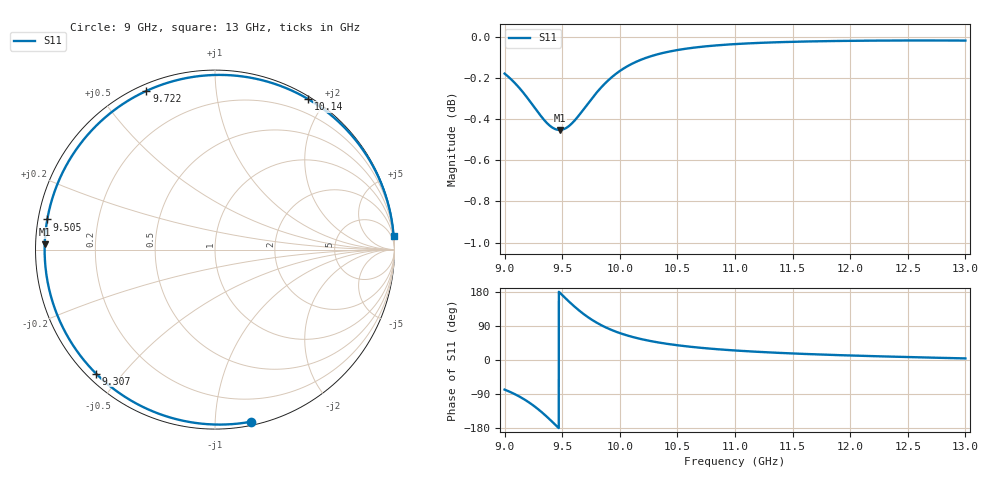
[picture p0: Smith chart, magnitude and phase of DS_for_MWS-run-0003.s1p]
! TOUCHSTONE file generated by CST DESIGN STUDIO
! Date and time: Wed Feb  5 13:18:12 2025
! Project name: C:\Work\MatlabApps\UnitCellOptimizationMatlab\CST\unitcell.cst
! Tree item: Tasks\Sweep1\SPara1\S-Parameters
! Header version: 2024
! Port assignment regex: !\s*Touchstone port\s*([0-9]+)\s*=\s*(CST MWS port|CST DES external port|CST DES block port)\s*(.+)\s* \(\"(.*)\"\)(\s*mode\s*([0-9]+))?.*
! Touchstone port assignment:
! Touchstone port 1 = CST DES external port 1 ("")
# GHz S MA R 50
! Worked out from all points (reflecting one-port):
!   4001 points, 9 GHz to 13 GHz, reference 50 ohm
!   lowest |S11| = -0.5 dB at 9.477 GHz (marker M1), VSWR 38.42, Z = 1.3 + j0.806 ohm
!   phase of S11 starts at -78 deg and turns -278 deg over the sweep
!   S11 on the Smith chart (normalised r, x): 9 GHz: 0.03, -1.23; 9.307 GHz: 0.03, -0.43; 9.505 GHz: 0.03, +0.09; 9.722 GHz: 0.03, +0.66; 10.14 GHz: 0.03, +1.79; 13 GHz: 1, +27
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9  0.9797 -78.1
9.077  0.9753 -88.4
9.174  0.9684 -104.5
9.243  0.9627 -118.6
9.307  0.9573 -133.8
9.352  0.954 -145.6
9.399  0.9512 -158.8
9.439  0.9497 -170.5
9.477  0.9493 178.2
9.5  0.9494 171.3
9.505  0.9495 169.8
9.557  0.9513 154.7
9.617  0.9549 138.2
9.669  0.9589 125.2
9.722  0.9633 113.4
9.777  0.9677 102.5
9.839  0.9722 91.9
9.918  0.977 80.6
10  0.9811 71.1
10.143  0.9862 58.3
10.304  0.9899 47.9
10.5  0.9927 38.9
10.722  0.9946 31.6
11  0.996 25.1
11.5  0.9973 17.3
12  0.9978 11.9
12.5  0.998 7.8
13  0.9979 4.2
